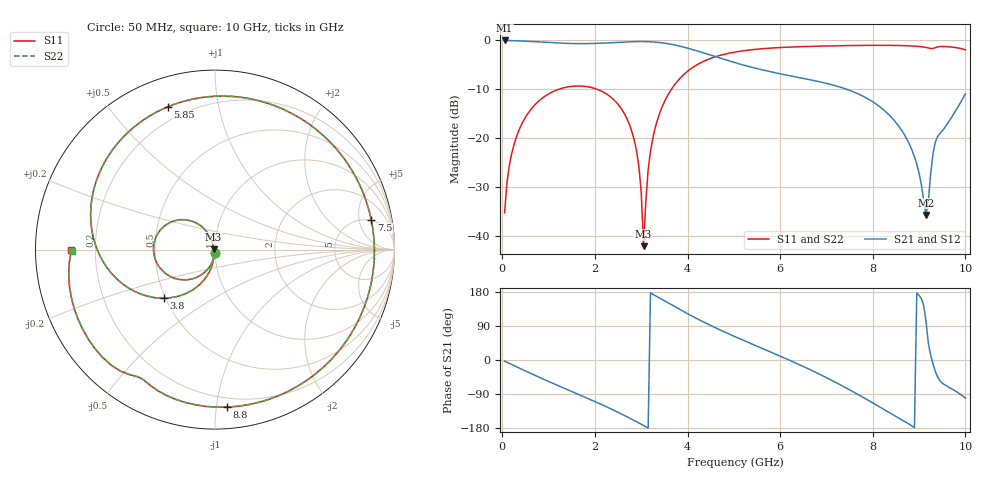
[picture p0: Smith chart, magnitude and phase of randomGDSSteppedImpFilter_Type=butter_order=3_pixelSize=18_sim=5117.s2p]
! freq	dB(S11)	phase(S11)	dB(S12)	phase(S12)
!  dB(S21)	phase(S21)	dB(S22)	phase(S22)
!S-par simulation data
#  GHz  S  DB  R 50
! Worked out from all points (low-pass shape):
!   200 points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, 50 MHz to 10 GHz, reference 50 ohm
!   highest |S21| = -0.01 dB at 50 MHz (marker M1); lowest = -35.6 dB at 9.15 GHz (marker M2)
!   |S21| within 3 dB of the highest: start of sweep to 4.497 GHz
!   lowest |S11| = -42.0 dB at 3.05 GHz (marker M3), VSWR 1.02, Z = 49.2 + j0.223 ohm
!   |S11| at or under -10 dB: start of sweep to 1.213 GHz; 2.053 GHz to 3.65 GHz (1.597 GHz wide, 56 % of centre)
!   |S22| runs from -41.6 to -1.0 dB; largest |S21 - S12| = 0
!   S11 on the Smith chart (normalised r, x): 50 MHz: 1.00, -0.03; 3.8 GHz: 0.49, -0.32; 5.85 GHz: 0.13, +0.71; 7.5 GHz: 4.87, +7.50; 8.8 GHz: 0.14, -1.07; 10 GHz: 0.11, -0.00
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0.05  -35.18 -92.7  -0.01 -3.0  -0.01 -3.0  -35.18 -92.7
0.2  -23.25 -102.1  -0.04 -11.7  -0.04 -11.7  -23.25 -102.1
0.5  -15.70 -119.3  -0.15 -29.0  -0.15 -29.0  -15.70 -119.3
1.1  -10.43 -152.5  -0.48 -62.0  -0.48 -62.0  -10.43 -152.5
1.75  -9.35 173.3  -0.65 -96.3  -0.65 -96.3  -9.35 173.3
2.75  -17.29 118.3  -0.28 -153.3  -0.28 -153.3  -17.29 118.4
2.95  -25.79 110.2  -0.23 -166.2  -0.23 -166.2  -25.78 110.7
3  -30.99 113.4  -0.23 -169.5  -0.23 -169.5  -30.96 114.3
3.05  -42.02 163.4  -0.23 -172.8  -0.23 -172.8  -41.60 164.6
3.15  -26.39 -98.8  -0.26 -179.6  -0.26 -179.6  -26.38 -99.4
3.4  -14.83 -110.0  -0.43 163.1  -0.43 163.1  -14.83 -110.2
3.8  -8.13 -136.3  -1.09 135.5  -1.09 135.5  -8.13 -136.4
4.3  -4.48 -168.0  -2.42 103.1  -2.42 103.1  -4.48 -168.1
5.05  -2.34 149.9  -4.62 60.3  -4.62 60.3  -2.34 149.8
5.85  -1.53 108.2  -6.51 18.3  -6.51 18.3  -1.53 108.2
6.7  -1.20 61.5  -8.14 -28.6  -8.14 -28.6  -1.20 61.5
7.5  -1.05 10.8  -10.19 -78.7  -10.19 -78.7  -1.05 10.9
8.35  -1.01 -51.0  -15.19 -138.2  -15.19 -138.2  -1.01 -50.7
8.8  -1.11 -85.6  -21.39 -170.4  -21.39 -170.4  -1.11 -85.2
9.15  -1.43 -112.3  -35.65 101.7  -35.65 101.7  -1.44 -111.9
9.35  -1.49 -124.0  -20.77 -30.0  -20.77 -30.0  -1.50 -123.6
10  -1.94 -179.9  -10.91 -100.6  -10.91 -100.6  -1.95 -179.6
